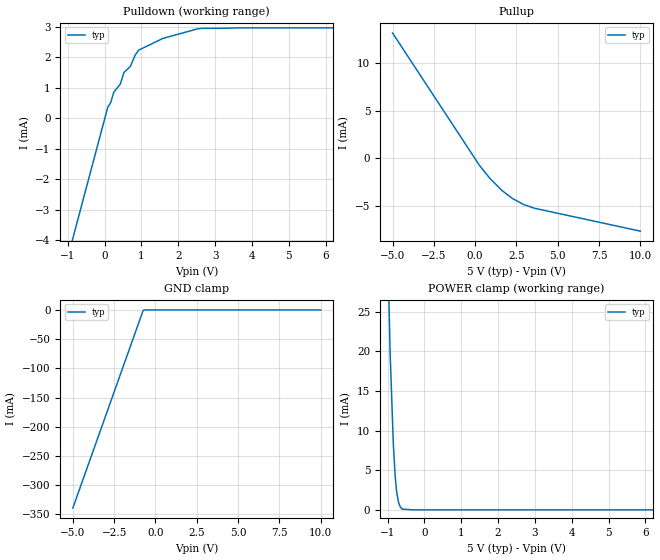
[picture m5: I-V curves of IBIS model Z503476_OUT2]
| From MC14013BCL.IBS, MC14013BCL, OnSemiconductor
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| (C) COPYRIGHT 1993-2000
| MENTOR GRAPHICS CORPORATION
| ICX STANDARD LIBRARY, ICX PROJECT MODELING,
| ICX CUSTOM MODELING, ICX VENDOR MODEL
| ALL RIGHTS RESERVED.
| THE FOLLOWING ARE TRADEMARKS OR SERVICE MARKS OF
| MENTOR GRAPHICS CORPORATION:ICX (R), ICX STANDARD
| LIBRARY(R), ICX PROJECT MODELING(R), ICX CUSTOM
| MODELING(R), qualityIBIS(TM), MODELVIEWER(TM),
| AND MODELEDITOR(TM)
| ALL COPIES OF SOFTWARE, INCLUDING BUT NOT LIMITED TO
| ANY MODIFICATIONS, ENHANCEMENTS OR DERIVATIVE WORKS,
| MUST CONTAIN ALL MENTOR GRAPHICS CORPORATION'S
| NOTICES AND LEGENDS, INCLUDING THOSE EMBEDDED IN
| SOFTWARE AND THOSE AFFIXED TO SOFTWARE MEDIUM
| AND CONTAINER, AS RECEIVED FROM MENTOR GRAPHICS
| CORPORATION.
| Model Application Version 1.89 2/18/99.
[Model] Z503476_OUT2
Model_type Output
Vref=0.000V
Rref=500.0Mohms
Cref=50.00pF
Vmeas=2.500V
C_comp 8.000pF NA NA
| variable typ   min   max
[Voltage Range] 5.000V NA NA
[POWER Clamp Reference] 5.000V NA NA
[Pullup Reference] 5.000V NA NA
[Pulldown Reference] 0.000V NA NA
[GND Clamp Reference] 0.000V NA NA
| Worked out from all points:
|   slope of the pulldown table from 0 to 0.75 V, typ, clamps not added: 401 ohm
|   slope of the pullup table from 0 to 0.75 V, typ, clamps not added: 428 ohm
|   GND clamp passes 1 mA (typ) near -0.73 V on its own axis
|   POWER clamp passes 1 mA (typ) near -0.70 V on its own axis
[GND Clamp]
-5V       -339.1mA   NA         NA
-763.8mV  -2.532mA   NA         NA
-727.4mV  -790.8uA   NA         NA
-661.3mV  0A         NA         NA
10V       0A         NA         NA
[Pulldown]
-5V       -22.68mA   NA         NA
86.17mV   375.4uA    NA         NA
167.7mV   527.5uA    NA         NA
245.2mV   857.7uA    NA         NA
427.1mV   1.132mA    NA         NA
523.5mV   1.505mA    NA         NA
703.3mV   1.716mA    NA         NA
824.4mV   2.071mA    NA         NA
922.3mV   2.24mA     NA         NA
1.583V    2.626mA    NA         NA
2.68V     2.957mA    NA         NA
10V       2.972mA    NA         NA
[Pullup]
-5V       13.2mA     NA         NA
255mV     -708.8uA   NA         NA
860mV     -2.027mA   NA         NA
1.626V    -3.372mA   NA         NA
2.255V    -4.204mA   NA         NA
2.927V    -4.834mA   NA         NA
3.603V    -5.239mA   NA         NA
10V       -7.643mA   NA         NA
[POWER Clamp]
-5V       824.3mA    NA         NA
-928mV    19.59mA    NA         NA
-843mV    8.373mA    NA         NA
-791mV    4.131mA    NA         NA
-752mV    2.229mA    NA         NA
-703mV    962.5uA    NA         NA
-652mV    338.4uA    NA         NA
-597mV    93uA       NA         NA
-298.5mV  0A         NA         NA
10V       0A         NA         NA
[Ramp]
| variable typ min max
dV/dt_r 2.568/12.31n NA NA
dV/dt_f 2.568/10.42n NA NA
R_load = 2.500kOhms
